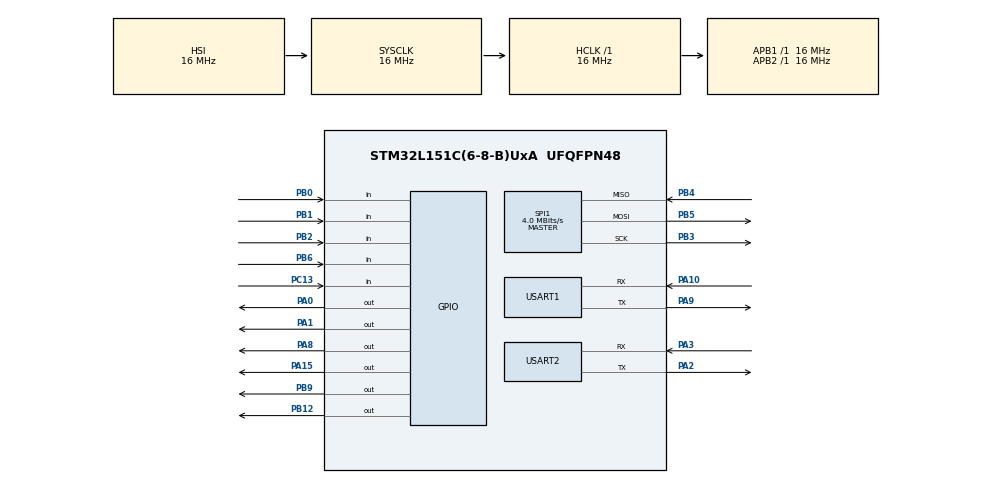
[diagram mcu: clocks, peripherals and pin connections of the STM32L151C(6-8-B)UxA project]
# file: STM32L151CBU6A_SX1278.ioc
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Mcu.Family=STM32L1
Mcu.Name=STM32L151C(6-8-B)UxA
Mcu.Package=UFQFPN48
NVIC.PriorityGroup=NVIC_PRIORITYGROUP_4
NVIC.USART2_IRQn=true\:0\:0\:false\:false\:true\:true\:true
PA0-WKUP1.PinState=GPIO_PIN_SET
PA0-WKUP1.Signal=GPIO_Output
PA1.PinState=GPIO_PIN_SET
PA1.Signal=GPIO_Output
PA10.Mode=Asynchronous
PA10.Signal=USART1_RX
PA13.Signal=SYS_JTMS-SWDIO
PA14.Signal=SYS_JTCK-SWCLK
PA15.PinState=GPIO_PIN_SET
PA15.Signal=GPIO_Output
PA2.Mode=Asynchronous
PA2.Signal=USART2_TX
PA3.Mode=Asynchronous
PA3.Signal=USART2_RX
PA8.Signal=GPIO_Output
PA9.Mode=Asynchronous
PA9.Signal=USART1_TX
PB0.Signal=GPIO_Input
PB1.Signal=GPIO_Input
PB12.PinState=GPIO_PIN_SET
PB12.Signal=GPIO_Output
PB2.Signal=GPIO_Input
PB3.Mode=Full_Duplex_Master
PB3.Signal=SPI1_SCK
PB4.Mode=Full_Duplex_Master
PB4.Signal=SPI1_MISO
PB5.Mode=Full_Duplex_Master
PB5.Signal=SPI1_MOSI
PB6.Signal=GPIO_Input
PB9.PinState=GPIO_PIN_SET
PB9.Signal=GPIO_Output
PC13-WKUP2.Signal=GPIO_Input
ProjectManager.HeapSize=0x200
ProjectManager.StackSize=0x400
ProjectManager.TargetToolchain=EWARM V8.32
RCC.AHBFreq_Value=16000000
RCC.APB1Freq_Value=16000000
RCC.APB1TimFreq_Value=16000000
RCC.APB2Freq_Value=16000000
RCC.APB2TimFreq_Value=16000000
RCC.HCLKFreq_Value=16000000
RCC.HSE_VALUE=24000000
RCC.HSI_VALUE=16000000
RCC.LSE_VALUE=32768
RCC.MSI_VALUE=2097000
RCC.SYSCLKFreq_VALUE=16000000
RCC.SYSCLKSource=RCC_SYSCLKSOURCE_HSI
RCC.VCOOutputFreq_Value=48000000
SPI1.BaudRatePrescaler=SPI_BAUDRATEPRESCALER_4
SPI1.CalculateBaudRate=4.0 MBits/s
SPI1.Direction=SPI_DIRECTION_2LINES
SPI1.Mode=SPI_MODE_MASTER
SPI1.VirtualType=VM_MASTER
USART1.VirtualMode=VM_ASYNC
USART2.VirtualMode=VM_ASYNC
board=custom

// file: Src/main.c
/* USER CODE BEGIN Header */
/**
  ******************************************************************************
  * @file           : main.c
  * @brief          : Main program body
  ******************************************************************************
  * @attention
  *
  * <h2><center>&copy; Copyright (c) 2019 STMicroelectronics.
  * All rights reserved.</center></h2>
  *
  * This software component is licensed by ST under BSD 3-Clause license,
  * the "License"; You may not use this file except in compliance with the
  * License. You may obtain a copy of the License at:
  *                        opensource.org/licenses/BSD-3-Clause
  *
  ******************************************************************************
  */
/* USER CODE END Header */

#include "main.h"
#include "spi.h"
#include "usart.h"
#include "gpio.h"

/* USER CODE BEGIN Includes */

#include "esp8266.h"
//lora
#include "platform.h"
#include "radio.h"
#include "sx1276-Hal.h"
#include "sx1276-LoRa.h"
#include "sx1276-LoRaMisc.h"
/* USER CODE END Includes */

/* USER CODE BEGIN PD */

#define BUFFERSIZE 10
#define MAXSLAVENUM 2

#define REQUESTNUM 0//因为使用了求余，所以从零开始计数

/* USER CODE END PD */

/* USER CODE BEGIN PV */
uint8_t RegVersion = 0;

char request_num = REQUESTNUM;
uint16_t sizeof_request_num = sizeof(request_num);
uint8_t data_frame[BUFFERSIZE] = "";
uint16_t sizeof_data_frame = BUFFERSIZE;

//lora设备初始化的返回值
tRadioDriver *Radio = NULL;

/* USER CODE END PV */

void SystemClock_Config(void);

/* USER CODE BEGIN 0 */

void led_init()//LED初始化为三色
{
	HAL_GPIO_WritePin(GPIOB, GPIO_PIN_12, GPIO_PIN_RESET);//LED_B
	HAL_GPIO_WritePin(GPIOA, GPIO_PIN_0, GPIO_PIN_RESET);//LED_R
	HAL_GPIO_WritePin(GPIOA, GPIO_PIN_1, GPIO_PIN_RESET);//LED_G
}
void led_send()//发送时：蓝灯
{
	HAL_GPIO_WritePin(GPIOB, GPIO_PIN_12, GPIO_PIN_RESET);
	HAL_GPIO_WritePin(GPIOA, GPIO_PIN_0, GPIO_PIN_SET);
	HAL_GPIO_WritePin(GPIOA, GPIO_PIN_1, GPIO_PIN_SET);
}

void led_rev()//接收时：绿灯
{
	HAL_GPIO_WritePin(GPIOB, GPIO_PIN_12, GPIO_PIN_SET);
	HAL_GPIO_WritePin(GPIOA, GPIO_PIN_0, GPIO_PIN_SET);
	HAL_GPIO_WritePin(GPIOA, GPIO_PIN_1, GPIO_PIN_RESET);
}
void led_debug()//debug：红灯
{
	HAL_GPIO_WritePin(GPIOB, GPIO_PIN_12, GPIO_PIN_SET);
	HAL_GPIO_WritePin(GPIOA, GPIO_PIN_0, GPIO_PIN_RESET);
	HAL_GPIO_WritePin(GPIOA, GPIO_PIN_1, GPIO_PIN_SET);
}
void led_debug2()//debug：红+绿灯
{
	HAL_GPIO_WritePin(GPIOB, GPIO_PIN_12, GPIO_PIN_SET);
	HAL_GPIO_WritePin(GPIOA, GPIO_PIN_0, GPIO_PIN_RESET);
	HAL_GPIO_WritePin(GPIOA, GPIO_PIN_1, GPIO_PIN_RESET);
}

void master_task()
{
	switch(Radio->Process())
	{
		case RF_RX_DONE:

			Radio->GetRxPacket(data_frame, &sizeof_data_frame);
			if(data_frame[0] == request_num)
			{
                  led_send();//收到了我当前轮询的从机的数据
				// printf("-%d-%d-%d\r\n", data_frame[0],  data_frame[1], data_frame[2]);
				// sprintf((char * restrict)DATABUF,(const char * restrict)"master_task: rev from%d: wendu = %d,  shidu = %d\r\n",  data_frame[0],  data_frame[1], data_frame[2]);
				sprintf((char * )DATABUF,(const char * )"%d:wendu=%d&shidu=%d\r\n",  data_frame[0],  data_frame[1], data_frame[2]);
				printf("%s\r\n",DATABUF );
				// send_data(DATABUF);
				send_data_test(request_num, data_frame[1], data_frame[2]);//发送给esp8266
				memset(DATABUF, 0, CMDBUFSIZE);
				request_num = (request_num + 1) % MAXSLAVENUM;//请求号+1，要求余才能循环嘛
				HAL_Delay(2000);//纯粹延时
				Radio->SetTxPacket(&request_num, sizeof_request_num);
				printf("MASTER sent request_num=%d\r\n",request_num);
			}
			else
			{
				HAL_Delay(2000);//纯粹延时//如果不是此次轮询从机的数据，延时一下，重新请求
				Radio->SetTxPacket(&request_num, sizeof_request_num);
				printf("MASTER sent request_num222\r\n");
			}
			break;
		case RF_TX_DONE:
				led_rev();
				Radio->StartRx();
			break;
		default:
			break;
	}
}

/* USER CODE END 0 */

int main(void)
{

	/* MCU Configuration--------------------------------------------------------*/

	/* Reset of all peripherals, Initializes the Flash interface and the Systick. */
	HAL_Init();

	/* Configure the system clock */
	SystemClock_Config();

	/* Initialize all configured peripherals */
	MX_GPIO_Init();
	MX_SPI1_Init();
	MX_USART1_UART_Init();
	MX_USART2_UART_Init();

	/* Infinite loop */
	/* USER CODE BEGIN WHILE */

	led_init();
	printf("Hello World!\r\n");
	SX1276Read( REG_LR_VERSION, &RegVersion );
	if(RegVersion != 0x12)
	{
	printf("get RegVersion error, RegVersion = %#x\r\n", RegVersion);
	}
	else
	{
	printf("get RegVersion success, RegVersion = %#x\r\n", RegVersion);
	}
	//sx1278初始化
	Radio = RadioDriverInit();
	Radio->Init();

	//esp初始化
//    printf("-----111\r\n");
    if(esp8266_init_test())
        printf("esp8266_init OK!\r\n");
    else
        printf("esp8266_init ERROR!\r\n");

    Radio->SetTxPacket(&request_num, sizeof_request_num);	//初始化之后就开始轮询了
    printf("MASTER sent request_num000\r\n");

	while (1)
	{
		master_task();

		// led_debug();
		// HAL_Delay(1000);
		// led_init();
		// HAL_Delay(1000);
		// HAL_UART_Transmit(&huart2, ping_msg , strlen((const char *)ping_msg), 1000);

	/* USER CODE END WHILE */

	}
}

void SystemClock_Config(void)
{
  RCC_OscInitTypeDef RCC_OscInitStruct = {0};
  RCC_ClkInitTypeDef RCC_ClkInitStruct = {0};

  /** Configure the main internal regulator output voltage
  */
  __HAL_PWR_VOLTAGESCALING_CONFIG(PWR_REGULATOR_VOLTAGE_SCALE1);
  /** Initializes the CPU, AHB and APB busses clocks
  */
  RCC_OscInitStruct.OscillatorType = RCC_OSCILLATORTYPE_HSI;
  RCC_OscInitStruct.HSIState = RCC_HSI_ON;
  RCC_OscInitStruct.HSICalibrationValue = RCC_HSICALIBRATION_DEFAULT;
  RCC_OscInitStruct.PLL.PLLState = RCC_PLL_NONE;
  if (HAL_RCC_OscConfig(&RCC_OscInitStruct) != HAL_OK)
  {
    Error_Handler();
  }
  /** Initializes the CPU, AHB and APB busses clocks
  */
  RCC_ClkInitStruct.ClockType = RCC_CLOCKTYPE_HCLK|RCC_CLOCKTYPE_SYSCLK
                              |RCC_CLOCKTYPE_PCLK1|RCC_CLOCKTYPE_PCLK2;
  RCC_ClkInitStruct.SYSCLKSource = RCC_SYSCLKSOURCE_HSI;
  RCC_ClkInitStruct.AHBCLKDivider = RCC_SYSCLK_DIV1;
  RCC_ClkInitStruct.APB1CLKDivider = RCC_HCLK_DIV1;
  RCC_ClkInitStruct.APB2CLKDivider = RCC_HCLK_DIV1;

  if (HAL_RCC_ClockConfig(&RCC_ClkInitStruct, FLASH_LATENCY_0) != HAL_OK)
  {
    Error_Handler();
  }
}

/* USER CODE BEGIN 4 */

//int _write (int fd, char *pBuffer, int size)
//{
//for (int i = 0; i < size; i++)
//{
//while((USART1->SR&0X40)==0);//等待上一次串口数据发送完成
//USART1->DR = (uint8_t) pBuffer[i]; //写DR,串口1将发送数据
//}
//return size;
//}

//重定向串口
int fputc(int c, FILE *stream)
{
  while(!(USART1->SR & (1 << 7)));//等待数据发送完成
  USART1->DR = c;//将c赋给串口1的DR寄存器，即重定向到串口，也可以是其他的接口
  return c;
}

/* USER CODE END 4 */

void Error_Handler(void)
{
}

/************************ (C) COPYRIGHT STMicroelectronics *****END OF FILE****/
